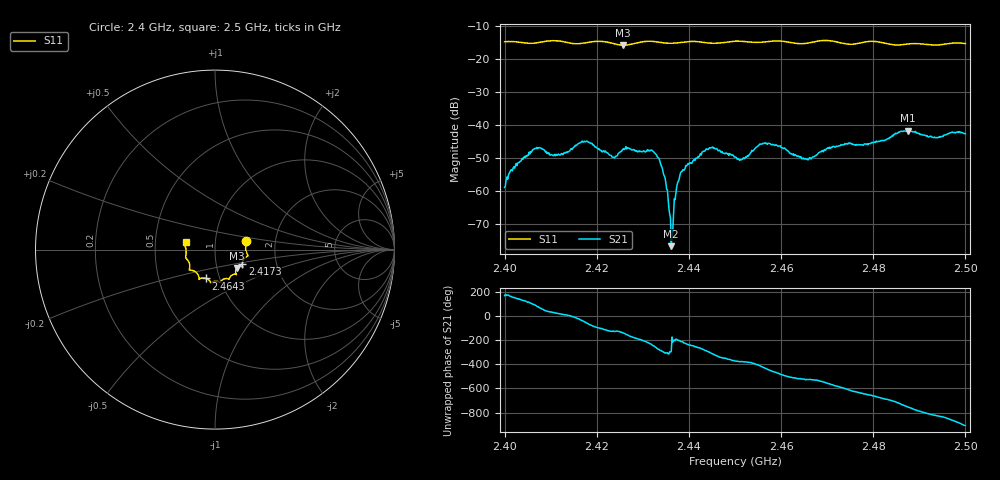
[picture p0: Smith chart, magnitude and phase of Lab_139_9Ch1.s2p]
# Hz S RI R 50
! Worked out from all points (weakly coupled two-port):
!   601 points, 2.4 GHz to 2.5 GHz, reference 50 ohm
!   highest |S21| = -41.76 dB at 2.4875 GHz (marker M1); lowest = -76.8 dB at 2.4362 GHz (marker M2)
!   lowest |S11| = -15.9 dB at 2.4257 GHz (marker M3), VSWR 1.38, Z = 62.5 - j13.1 ohm
!   |S11| at or under -10 dB: start of sweep to end of sweep
!   S12 and S22 are empty: the file has one direction only
!   S11 on the Smith chart (normalised r, x): 2.4 GHz: 1.41, +0.14; 2.4173 GHz: 1.34, -0.23; 2.4643 GHz: 0.86, -0.29; 2.5 GHz: 0.72, +0.06
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2.4e9  0.1732 0.0494  -0.0011 0.000223  0 0  0 0
2.4065e9  0.1716 -0.00398  -0.000234 0.00434  0 0  0 0
2.4115e9  0.1824 -0.036  0.00323 0.00124  0 0  0 0
2.416667e9  0.1529 -0.0741  0.00447 -0.00309  0 0  0 0
2.417333e9  0.152 -0.0817  0.00369 -0.00425  0 0  0 0
2.4235e9  0.1418 -0.0936  -0.00181 -0.00267  0 0  0 0
2.425667e9  0.123 -0.1018  -0.00322 -0.00282  0 0  0 0
2.433333e9  0.1135 -0.137  0.000311 0.00315  0 0  0 0
2.434833e9  0.1034 -0.1378  0.000936 0.00125  0 0  0 0
2.436167e9  0.0929 -0.1434  5.7e-05 0.000133  0 0  0 0
2.436667e9  0.0894 -0.1463  -0.000399 0.000171  0 0  0 0
2.437167e9  0.0862 -0.1494  -0.000906 0.000174  0 0  0 0
2.437833e9  0.0831 -0.1534  -0.00136 0.000548  0 0  0 0
2.439667e9  0.0795 -0.1625  -0.00147 0.00198  0 0  0 0
2.444833e9  0.0572 -0.1614  0.00275 0.00355  0 0  0 0
2.45e9  0.0288 -0.1814  0.00317 -0.000699  0 0  0 0
2.456833e9  -0.0126 -0.1798  0.00123 -0.0051  0 0  0 0
2.464333e9  -0.0499 -0.1608  -0.00308 -0.00106  0 0  0 0
2.466667e9  -0.0763 -0.1591  -0.00306 -0.000698  0 0  0 0
2.483333e9  -0.1405 -0.0899  0.00561 0.00268  0 0  0 0
2.4875e9  -0.1582 -0.0526  0.00684 -0.00446  0 0  0 0
2.5e9  -0.1637 0.0425  -0.00727 0.000777  0 0  0 0
